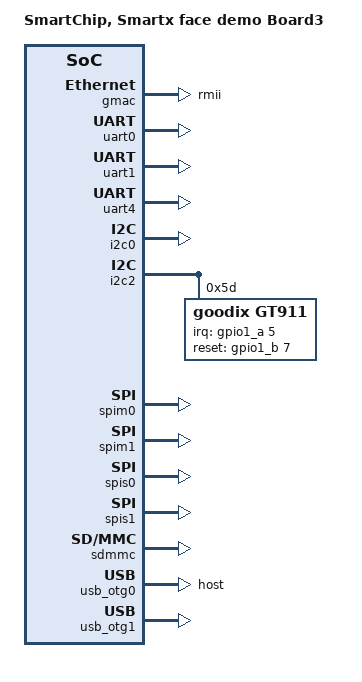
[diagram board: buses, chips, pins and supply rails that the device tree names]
/*
 * Copyright 2015 SmartChip Co., Ltd.
 */

/dts-v1/;
#include <dt-bindings/gpio/gpio.h>
#include <dt-bindings/interrupt-controller/arm-gic.h>
#include <dt-bindings/sca200v100_common.h>
#include "smartchip-sca200v100-memory.dtsi"
#include "smartchip-sca200v100.dtsi"

/ {
	model = "SmartChip, Smartx face demo Board3";
};

&gpio_reboot {
	status = "okay";
};

&gmac {
	phy-mode = "rmii";
	status = "okay";
};
&phy0 {
	max-speed = <100>;
};

&uart0 {
	status = "okay";
};

&uart1 {
	status = "okay";
};
&uart4 {
	status = "okay";
};
&i2c0 {
	status = "okay";
};

&i2c2 {
	status = "okay";

	gt911: touchscreen@5d {
		compatible = "goodix,gt911";
		reg = <0x5d>;
		interrupt-parent = <&gpio1_a>;
		interrupts = <5 IRQ_TYPE_EDGE_FALLING>;
		/* input irq: gpio1_5(pin173 func4) */
		irq-gpios = <&gpio1_a 5 GPIO_ACTIVE_HIGH>;
		/* output reset: gpio1_15(pin129 func0) */
		reset-gpios = <&gpio1_b 7 GPIO_ACTIVE_HIGH>;

		//touchscreen-swapped-x-y;
	};
};

&spim0 {
	status = "okay";
};

&spim1 {
	status = "okay";
};

&spis0 {
	status = "okay";
};

&spis1 {
	status = "okay";
};

&sdmmc {
	status = "okay";

	slot@0 {
		bus-width = <4>;
		cap-sd-highspeed;
		no-mmc;
		no-sdio;
		status = "okay";
	};
};

/delete-node/ &vbus_regulator0;
/delete-node/ &vbus_regulator1;
/delete-node/ &vbus_regulator2;
&usb_otg0 {
	dr_mode = "host";
	status = "okay";
};
&usb_otg1 {
	status = "okay";
};
